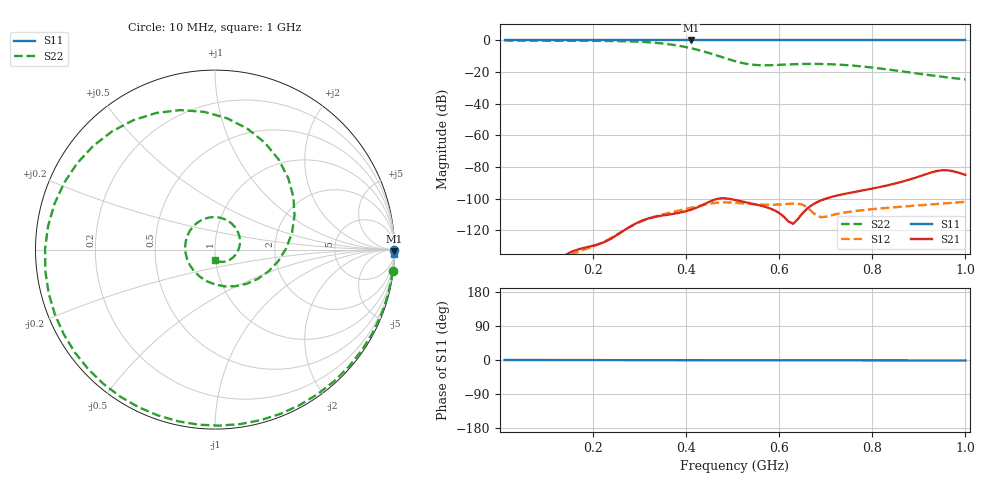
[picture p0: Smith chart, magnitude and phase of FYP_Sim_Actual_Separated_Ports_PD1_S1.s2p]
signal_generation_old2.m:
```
%% FYP PD DATA PIPELINE: MASTER GENERATION CONTROLLER
% Orchestrates the mass generation of HDF5 shards.
% Calculates a global absolute noise floor based on PD occurrence probabilities.

clear; clc;

%% 1. Master Configuration
num_shards = 10;
scenes_per_shard = 10;
output_dir = fullfile('..', "..", 'data', '01_raw');

fprintf('Initializing Master Data Generation...\n');

%% 2. Probabilistic Global Noise Floor Calculation
% Instead of an arbitrary value, we calculate the expected value of the peak
% based on the mathematical probabilities of your PD amplitudes.

% Step A: Define Probabilities
% Based on your generation logic:
% PD1: Amplitude [0.9, 1.1] -> Mean = 1.0 A
% PD2: Amplitude [1.4, 1.6] -> Mean = 1.5 A
% Assuming a 50/50 chance of PD1 vs PD2 occurring:
expected_amplitude_A = (1.0 + 1.5) / 2; % 1.25 A expected average
expected_width_ns = (0.95 + 1.15) / 2;  % 1.05 ns expected average

fprintf('Calculating absolute noise floor based on expected %.2f A pulse...\n', expected_amplitude_A);

% Step B: Dry-Run the Physics to get Voltage
try
    % Load a baseline transfer function (e.g., PD1 to Sensor 1)
    S_data = sparameters('FYP_Sim_Actual_Separated_Ports_PD1_S1.s2p');
    Z_data = s2z(S_data.Parameters, S_data.Impedance);
    Z_transfer = squeeze(Z_data(2, 1, :)) ./ (1 + (squeeze(Z_data(2, 2, :)) / 50));
    
    % Quick FFT Setup
    dt = 0.01e-9;
    t_base = 0:dt:1000e-9;
    N_fft = length(t_base);
    Fs = 1 / dt;
    
    % Generate the Expected Average Pulse
    t0 = 70e-9;
    sigma = (expected_width_ns * 1e-9) / 2.355; 
    i_avg = expected_amplitude_A * exp(-((t_base - t0).^2) / (2 * sigma^2));
    I_freq = fft(i_avg, N_fft);
    
    % Interpolate Z-parameters
    freq_Hz = S_data.Frequencies;
    f_half = (0:floor(N_fft/2)) * (Fs/N_fft);
    Z_half = interp1(freq_Hz, Z_transfer, f_half, 'linear', 0).'; 
    Z_tf_fft = zeros(1, N_fft);
    Z_tf_fft(1:length(Z_half)) = Z_half;
    Z_tf_fft(length(Z_half)+1:end) = conj(flip(Z_half(2:ceil(N_fft/2))));
    
    V_out_freq = I_freq .* Z_tf_fft;
    
    % High-Pass Filter and IFFT
    cutoff_bins = round(10e6 / (Fs/N_fft)); 
    V_out_freq(1:cutoff_bins) = 0;
    V_out_freq(end-cutoff_bins+1:end) = 0; 
    
    % The Holy Grail: Our Global Reference Peak Voltage
    ref_peak_v = max(abs(real(ifft(V_out_freq))));
    fprintf('Success. Global Reference Peak Voltage locked at: %.5f V\n\n', ref_peak_v);
    
catch ME
    % Fallback safety net in case the S-parameter file isn't in the root dir
    ref_peak_v = 0.005; 
    fprintf('S-parameter file missing for physics projection. Using default reference: %.5f V\n\n', ref_peak_v);
end

%% 3. Execute the Data Factory
fprintf('Orchestrating generation of %d shards (%d scenes each)...\n', num_shards, scenes_per_shard);
fprintf('Total expected duration generated: %.1f milliseconds of continuous data.\n\n', ...
        (num_shards * scenes_per_shard * 5000e-9) * 1000);

% Loop through and call your function
for i = 1:num_shards
    generate_pd_shard(i, scenes_per_shard, output_dir, ref_peak_v);
end

fprintf('=== Master Generation Complete! %d total scenes saved to %s ===\n', num_shards * scenes_per_shard, output_dir);
```
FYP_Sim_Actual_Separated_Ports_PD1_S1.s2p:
! Touchstone file from project FYP_Sim_Actual_Separated_Ports
! Exported from HFSS 13.0.2
# GHZ S MA R 50.000000
! Terminal data exported
! Port[1] = PD1_Void_Port_T1
! Port[2] = Radiating_Plate_T1
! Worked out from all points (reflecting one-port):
!   100 points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, 10 MHz to 1 GHz, reference 50 ohm
!   lowest |S11| = 0.0 dB at 410 MHz (marker M1)
!   phase of S11 starts at -0 deg and turns -1 deg over the sweep
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0.01  1 -0.0  8.799e-11 143.8  8.799e-11 143.8  0.9984 -7.0
0.08  1 -0.1  8.324e-09 -108.6  8.325e-09 -108.5  0.9877 -54.7
0.13  1 -0.2  1.265e-07 -36.5  1.01e-07 -74.0  0.981 -88.5
0.19  1 -0.3  3.019e-07 2.4  2.735e-07 -3.2  0.9727 -129.6
0.25  1 -0.3  6.9e-07 89.9  7.201e-07 90.0  0.953 -172.8
0.34  1 -0.4  2.787e-06 -141.4  2.919e-06 -140.7  0.8285 113.2
0.41  1 -0.5  4.455e-06 -60.0  5.147e-06 -56.3  0.5707 44.4
0.51  1 -0.7  8.781e-06 109.1  7.35e-06 87.3  0.2123 -74.8
0.58  1 -0.8  4.938e-06 128.1  6.448e-06 162.9  0.1652 -173.4
0.67  1 -0.9  6.257e-06 -59.2  3.902e-06 -10.0  0.1818 100.5
1  1 -1.3  5.679e-05 124.6  7.976e-06 -124.6  0.05862 -91.2
